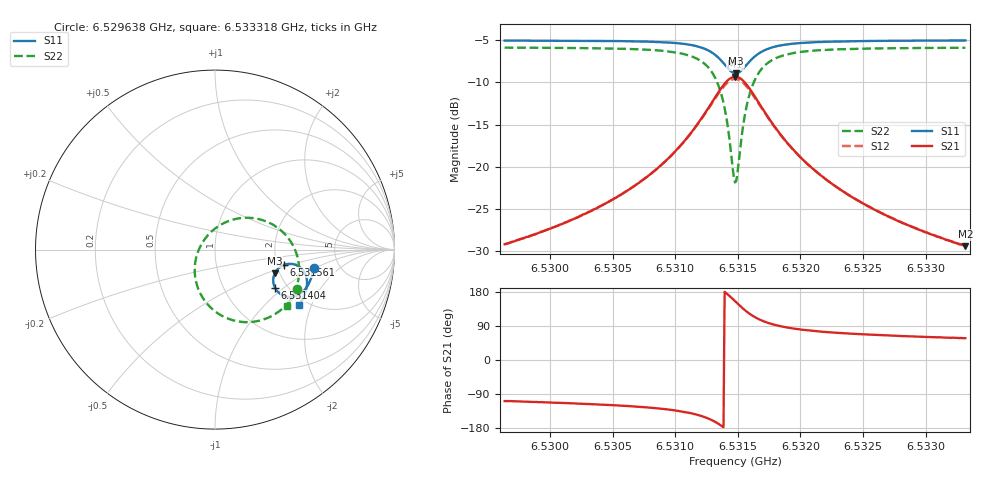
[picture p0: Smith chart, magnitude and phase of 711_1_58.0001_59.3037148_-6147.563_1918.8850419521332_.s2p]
#  HZ  S  RI  R  50.00
! Rohde & Schwarz Vector Network Analyzer
! Rohde-Schwarz,ZNB20-2Port,1311601062101988,3.16
! Created: UTC 3/21/2024, 1:22:10 AM
! freq[Hz]  re:S11  im:S11  re:S21  im:S21  re:S12  im:S12  re:S22  im:S22
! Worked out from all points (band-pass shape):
!   401 points, 6.529638 GHz to 6.533318 GHz, reference 50 ohm
!   highest |S21| = -9.31 dB at 6.531478 GHz (marker M1); lowest = -29.4 dB at 6.533318 GHz (marker M2)
!   |S21| within 3 dB of the highest: 6.531296 GHz to 6.531664 GHz (368 kHz wide, 0.00563 % of centre)
!   lowest |S11| = -8.9 dB at 6.531487 GHz (marker M3), VSWR 2.12, Z = 94.2 - j28.6 ohm
!   |S11| at or under -10 dB: nowhere
!   |S22| runs from -21.9 to -5.9 dB; largest |S21 - S12| = 0.014
!   S11 on the Smith chart (normalised r, x): 6.529638 GHz: 3.23, -0.97; 6.531404 GHz: 1.73, -0.88; 6.531561 GHz: 2.20, -0.44; 6.533318 GHz: 1.82, -1.64
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6.5296378e9  0.5507 -0.1026  -0.0109 -0.0329  -0.0116 -0.0327  0.4582 -0.2219
6.5302543e9  0.5372 -0.1548  -0.022 -0.0465  -0.0233 -0.0459  0.4213 -0.2801
6.5305856e9  0.5241 -0.1866  -0.0357 -0.0598  -0.0373 -0.0588  0.3856 -0.3201
6.5308708e9  0.5042 -0.2187  -0.0614 -0.0785  -0.0636 -0.0766  0.3279 -0.3634
6.5310824e9  0.4738 -0.2471  -0.1065 -0.0976  -0.1094 -0.0934  0.2374 -0.3983
6.5312481e9  0.4211 -0.2638  -0.1887 -0.0994  -0.1904 -0.0911  0.0886 -0.3901
6.5313401e9  0.3706 -0.2511  -0.266 -0.0606  -0.263 -0.0493  -0.0371 -0.3093
6.5313769e9  0.3487 -0.2334  -0.2978 -0.0241  -0.2917 -0.0124  -0.0834 -0.2416
6.5314045e9  0.3348 -0.2138  -0.3165 0.0138  -0.3074 0.0244  -0.1066 -0.1751
6.5314597e9  0.3249 -0.1603  -0.3221 0.1101  -0.3089 0.1151  -0.0966 -0.0164
6.5314781e9  0.3293 -0.1415  -0.311 0.143  -0.2977 0.1456  -0.0727 0.035
6.5314873e9  0.3328 -0.1324  -0.3031 0.1586  -0.2899 0.1599  -0.0569 0.0588
6.5315057e9  0.3427 -0.1157  -0.283 0.1866  -0.2706 0.1859  -0.019 0.1011
6.5315609e9  0.386 -0.0841  -0.2034 0.2387  -0.1952 0.2341  0.1207 0.172
6.5315885e9  0.4091 -0.0793  -0.1626 0.2463  -0.1566 0.2414  0.1895 0.1773
6.5316253e9  0.4364 -0.0811  -0.1154 0.2428  -0.1116 0.2386  0.2679 0.1631
6.5317173e9  0.4811 -0.1049  -0.0394 0.206  -0.0379 0.2038  0.3905 0.085
6.5318554e9  0.5066 -0.1447  0.00473 0.1505  0.00602 0.1497  0.455 -0.0255
6.5320946e9  0.5126 -0.1922  0.022 0.0955  0.0231 0.0951  0.4682 -0.1373
6.5323798e9  0.5057 -0.229  0.0233 0.0642  0.0245 0.0638  0.4546 -0.2075
6.5327111e9  0.4941 -0.2611  0.0216 0.0454  0.0225 0.0451  0.4347 -0.2568
6.5333184e9  0.4695 -0.3081  0.0181 0.0285  0.0187 0.0282  0.3993 -0.3143
